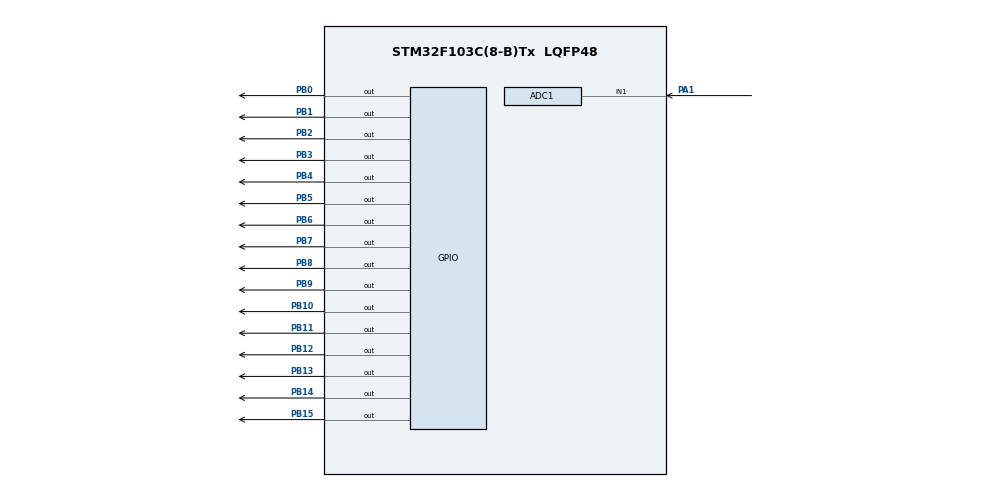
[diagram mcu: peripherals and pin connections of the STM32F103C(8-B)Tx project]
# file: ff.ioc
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ADC1.Channel-0\#ChannelRegularConversion=ADC_CHANNEL_1
ADC1.NbrOfConversionFlag=1
ADC1.Rank-0\#ChannelRegularConversion=1
ADC1.SamplingTime-0\#ChannelRegularConversion=ADC_SAMPLETIME_1CYCLE_5
ADC1.master=1
Dma.ADC1.0.Direction=DMA_PERIPH_TO_MEMORY
Dma.ADC1.0.Instance=DMA1_Channel1
Dma.ADC1.0.MemDataAlignment=DMA_MDATAALIGN_HALFWORD
Dma.ADC1.0.MemInc=DMA_MINC_ENABLE
Dma.ADC1.0.Mode=DMA_NORMAL
Dma.ADC1.0.PeriphDataAlignment=DMA_PDATAALIGN_HALFWORD
Dma.ADC1.0.PeriphInc=DMA_PINC_DISABLE
Dma.ADC1.0.Priority=DMA_PRIORITY_LOW
Dma.Request0=ADC1
Mcu.Family=STM32F1
Mcu.Name=STM32F103C(8-B)Tx
Mcu.Package=LQFP48
NVIC.ADC1_2_IRQn=true\:10\:0\:true\:false\:true\:true\:true
NVIC.DMA1_Channel1_IRQn=true\:0\:0\:false\:false\:true\:false\:true
NVIC.PriorityGroup=NVIC_PRIORITYGROUP_4
NVIC.TIM2_IRQn=true\:12\:0\:true\:false\:true\:true\:true
NVIC.TIM3_IRQn=true\:11\:0\:true\:false\:true\:true\:true
PA1.Signal=ADCx_IN1
PB0.Signal=GPIO_Output
PB1.Signal=GPIO_Output
PB10.Signal=GPIO_Output
PB11.Signal=GPIO_Output
PB12.Signal=GPIO_Output
PB13.Signal=GPIO_Output
PB14.Signal=GPIO_Output
PB15.Signal=GPIO_Output
PB2.Signal=GPIO_Output
PB3.Signal=GPIO_Output
PB4.Signal=GPIO_Output
PB5.Signal=GPIO_Output
PB6.Signal=GPIO_Output
PB7.Signal=GPIO_Output
PB8.Signal=GPIO_Output
PB9.Signal=GPIO_Output
ProjectManager.HeapSize=0x200
ProjectManager.StackSize=0x400
ProjectManager.TargetToolchain=STM32CubeIDE
RCC.ADCPresc=RCC_ADCPCLK2_DIV8
RCC.APB1Freq_Value=8000000
RCC.APB2Freq_Value=8000000
SH.ADCx_IN1.0=ADC1_IN1,IN1
TIM2.Period=100
TIM2.Prescaler=800
TIM2.TIM_MasterOutputTrigger=TIM_TRGO_UPDATE
TIM3.Period=100
TIM3.Prescaler=80
TIM3.TIM_MasterOutputTrigger=TIM_TRGO_UPDATE
VP_SYS_VS_ND.Mode=No_Debug
VP_TIM2_VS_ClockSourceINT.Mode=Internal
VP_TIM3_VS_ClockSourceINT.Mode=Internal
board=custom

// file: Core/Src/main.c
/* USER CODE BEGIN Header */
/**
  ******************************************************************************
  * @file           : main.c
  * @brief          : Main program body
  ******************************************************************************
  * @attention
  *
  * <h2><center>&copy; Copyright (c) 2024 STMicroelectronics.
  * All rights reserved.</center></h2>
  *
  * This software component is licensed by ST under BSD 3-Clause license,
  * the "License"; You may not use this file except in compliance with the
  * License. You may obtain a copy of the License at:
  *                        opensource.org/licenses/BSD-3-Clause
  *
  ******************************************************************************
  */
/* USER CODE END Header */
#include "main.h"
#include <stdbool.h>

ADC_HandleTypeDef hadc1;
DMA_HandleTypeDef hdma_adc1;
TIM_HandleTypeDef htim2;
TIM_HandleTypeDef htim3;

/* USER CODE BEGIN PV */
uint16_t sA = GPIO_PIN_0;
uint16_t sB = GPIO_PIN_1;
uint16_t sC = GPIO_PIN_2;
uint16_t sD = GPIO_PIN_3;
uint16_t sE = GPIO_PIN_4;
uint16_t sF = GPIO_PIN_5;
uint16_t sG = GPIO_PIN_6;
uint16_t sDP = GPIO_PIN_7;
uint16_t digs[10];
uint16_t flag = 0;

uint16_t pointposition1[4] = {
    0b1110,
    0b1101,
    0b1011,
    0b0111,
};

uint16_t adcValues[256];
uint16_t adcIndex = 0;
uint8_t adcFull = 0;
uint8_t i = 0;
uint8_t tmp = 0;
uint16_t y = 0;
uint8_t value[4] = {0, 0, 0, 0};
uint32_t adcData[0];
uint16_t rmsValue = 0; // Переменная для хранения среднеквадратичного значения

/* USER CODE END PV */

void SystemClock_Config(void);
static void MX_GPIO_Init(void);
static void MX_TIM2_Init(void);
static void MX_TIM3_Init(void);
static void MX_DMA_Init(void);
static void MX_ADC1_Init(void);

/* USER CODE BEGIN 0 */

void SetSymbol(uint16_t digs)
{
    GPIOB->BSRR = ~digs;
    GPIOB->BSRR = (uint32_t)digs << 16u;
}

void FloatIntTranslation(uint16_t adcValue)
{
    // Преобразование значения АЦП в вольты
	float voltage = (adcValue * 1.65f / 4095.0f);

    uint8_t a = (uint8_t)voltage;
    uint8_t b = (uint8_t)(voltage * 10) - (a * 10);
    uint8_t c = (uint8_t)(voltage * 100) - ((uint8_t)(voltage * 10)) * 10;
    uint8_t d = (uint8_t)(voltage * 1000) - ((uint8_t)(voltage * 100)) * 10;

    value[0] = a;
    value[1] = b;
    value[2] = c;
    value[3] = d;
}

void Symbol()
{
    if (i == 4) {
        i = 0;
    }

    if (tmp == 4) {
        tmp = 0;
    }

    if (i == 0) {
        y = digs[value[tmp]] | sDP;
    } else {
        y = digs[value[tmp]];
    }

    y = y | (pointposition1[i] << 8);

    SetSymbol(y);

    i++;
    tmp++;
}

int16_t sqrt1(uint32_t L)
{
    if(L < 2)
        return (uint16_t) L;

    uint32_t rslt, div;

    rslt = L;
    div = L / 2;
    while(1)
    {
        div = (L / div + div) / 2;

        if(rslt > div)
            rslt = div;
        else
            return (uint16_t) rslt;
    }
}

float CalculateRMS(uint16_t *values, uint16_t size)
{
    uint32_t sum = 0;
    for (uint16_t i = 0; i < size; i++) {
        sum += values[i] * values[i];
    }
    float mean = (float)sum / size;
    return sqrt1(mean);
}

void HAL_TIM_PeriodElapsedCallback(TIM_HandleTypeDef *htim)
{
	if (htim == &htim2) {
	        Symbol();
	    }

	if (htim == &htim3) {
        HAL_ADC_Start_DMA(&hadc1, (uint32_t*)&adcValues[0], 256);
    }
}

void HAL_ADC_ConvCpltCallback(ADC_HandleTypeDef* hadc)
{
    if (hadc->Instance == ADC1) {
        adcFull = 1;
    }
}

//функция подсчёта периодов
uint16_t countPeriods(uint16_t adcValues[], uint16_t length) {

    uint16_t perCount = 0;
    bool wasPos = (adcValues[0] >= 1.65 * 4095 / 3.3); // Начальное состояние
    bool flag = false;                                 // Флаг для отслеживания пересечения через 1.65 В

    for (uint16_t i = 1; i < length; i++) {
        bool isPos = (adcValues[i] >= 1.65 * 4095 / 3.3);

        // Проверяем пересечение через 1.65 В
        if (wasPos != isPos) {
            flag = true;
        } else if (flag && isPos) {
            // Пересечение через 1.65 В произошло и текущее значение положительное
            perCount++;
            flag = false;
        }

        wasPos = isPos;
    }

    return perCount;
}

// Функция для изменения предделителя таймера htim3
void ChangeTIM3Prescaler(uint32_t newPrescaler)
{

    // Останавливаем таймер перед изменением предделителя
    __HAL_TIM_DISABLE(&htim3);

    // Изменяем значение предделителя
    __HAL_TIM_SET_PRESCALER(&htim3, newPrescaler - 1);

    // Запускаем таймер снова
    __HAL_TIM_ENABLE(&htim3);

}
/* USER CODE END 0 */

int main(void)
{

  /* MCU Configuration--------------------------------------------------------*/

  /* Reset of all peripherals, Initializes the Flash interface and the Systick. */
  HAL_Init();

  /* Configure the system clock */
  SystemClock_Config();

  /* Initialize all configured peripherals */
  MX_GPIO_Init();
  MX_TIM2_Init();
  MX_TIM3_Init();
  MX_DMA_Init();
  MX_ADC1_Init();

  /* Infinite loop */
  /* USER CODE BEGIN WHILE */

  digs[0] = sA | sB | sC | sD | sE | sF;
  digs[1] = sB | sC;
  digs[2] = sA | sB | sD | sE | sG;
  digs[3] = sA | sB | sC | sD | sG;
  digs[4] = sB | sC | sF | sG;
  digs[5] = sA | sC | sD | sF | sG;
  digs[6] = sA | sC | sD | sE | sF | sG;
  digs[7] = sA | sB | sC;
  digs[8] = sA | sB | sC | sD | sE | sF | sG;
  digs[9] = sA | sB | sC | sD | sF | sG;

  HAL_TIM_Base_Start_IT(&htim2);
  HAL_TIM_Base_Start_IT(&htim3);
  while (1) {
    /* USER CODE END WHILE */

    /* USER CODE BEGIN 3 */

    if (adcFull) {
        adcFull = 0;
        float rms = CalculateRMS(adcValues, 256);
        rmsValue = (uint16_t)(rms);
        FloatIntTranslation(rmsValue);

        // Проверка количества периодов
        uint16_t perCount = countPeriods(adcValues, 256);

        if (perCount < 20)
         {
           // Увеличить частоту дискретизации
           ChangeTIM3Prescaler(300); // Уменьшение предделителя
         }
         else if (perCount > 50)
         {
           // Уменьшить частоту дискретизации
           ChangeTIM3Prescaler(1600); // Увеличение предделителя
         }
    }

  }

  /* USER CODE END 3 */
}

void SystemClock_Config(void)
{
  RCC_OscInitTypeDef RCC_OscInitStruct = {0};
  RCC_ClkInitTypeDef RCC_ClkInitStruct = {0};
  RCC_PeriphCLKInitTypeDef PeriphClkInit = {0};

  /** Initializes the RCC Oscillators according to the specified parameters
  * in the RCC_OscInitTypeDef structure.
  */
  RCC_OscInitStruct.OscillatorType = RCC_OSCILLATORTYPE_HSI;
  RCC_OscInitStruct.HSIState = RCC_HSI_ON;
  RCC_OscInitStruct.HSICalibrationValue = RCC_HSICALIBRATION_DEFAULT;
  RCC_OscInitStruct.PLL.PLLState = RCC_PLL_NONE;
  if (HAL_RCC_OscConfig(&RCC_OscInitStruct) != HAL_OK)
  {
    Error_Handler();
  }
  /** Initializes the CPU, AHB and APB buses clocks
  */
  RCC_ClkInitStruct.ClockType = RCC_CLOCKTYPE_HCLK|RCC_CLOCKTYPE_SYSCLK
                              |RCC_CLOCKTYPE_PCLK1|RCC_CLOCKTYPE_PCLK2;
  RCC_ClkInitStruct.SYSCLKSource = RCC_SYSCLKSOURCE_HSI;
  RCC_ClkInitStruct.AHBCLKDivider = RCC_SYSCLK_DIV1;
  RCC_ClkInitStruct.APB1CLKDivider = RCC_HCLK_DIV1;
  RCC_ClkInitStruct.APB2CLKDivider = RCC_HCLK_DIV1;

  if (HAL_RCC_ClockConfig(&RCC_ClkInitStruct, FLASH_LATENCY_0) != HAL_OK)
  {
    Error_Handler();
  }
  PeriphClkInit.PeriphClockSelection = RCC_PERIPHCLK_ADC;
  PeriphClkInit.AdcClockSelection = RCC_ADCPCLK2_DIV8;
  if (HAL_RCCEx_PeriphCLKConfig(&PeriphClkInit) != HAL_OK)
  {
    Error_Handler();
  }
}

static void MX_ADC1_Init(void)
{

  ADC_ChannelConfTypeDef sConfig = {0};

  /** Common config
  */
  hadc1.Instance = ADC1;
  hadc1.Init.ScanConvMode = ADC_SCAN_DISABLE;
  hadc1.Init.ContinuousConvMode = DISABLE;
  hadc1.Init.DiscontinuousConvMode = DISABLE;
  hadc1.Init.ExternalTrigConv = ADC_SOFTWARE_START;
  hadc1.Init.DataAlign = ADC_DATAALIGN_RIGHT;
  hadc1.Init.NbrOfConversion = 1;
  if (HAL_ADC_Init(&hadc1) != HAL_OK)
  {
    Error_Handler();
  }
  /** Configure Regular Channel
  */
  sConfig.Channel = ADC_CHANNEL_1;
  sConfig.Rank = ADC_REGULAR_RANK_1;
  sConfig.SamplingTime = ADC_SAMPLETIME_1CYCLE_5;
  if (HAL_ADC_ConfigChannel(&hadc1, &sConfig) != HAL_OK)
  {
    Error_Handler();
  }

}

static void MX_TIM2_Init(void)
{

  TIM_ClockConfigTypeDef sClockSourceConfig = {0};
  TIM_MasterConfigTypeDef sMasterConfig = {0};

  htim2.Instance = TIM2;
  htim2.Init.Prescaler = 800;
  htim2.Init.CounterMode = TIM_COUNTERMODE_UP;
  htim2.Init.Period = 100;
  htim2.Init.ClockDivision = TIM_CLOCKDIVISION_DIV1;
  htim2.Init.AutoReloadPreload = TIM_AUTORELOAD_PRELOAD_DISABLE;
  if (HAL_TIM_Base_Init(&htim2) != HAL_OK)
  {
    Error_Handler();
  }
  sClockSourceConfig.ClockSource = TIM_CLOCKSOURCE_INTERNAL;
  if (HAL_TIM_ConfigClockSource(&htim2, &sClockSourceConfig) != HAL_OK)
  {
    Error_Handler();
  }
  sMasterConfig.MasterOutputTrigger = TIM_TRGO_UPDATE;
  sMasterConfig.MasterSlaveMode = TIM_MASTERSLAVEMODE_DISABLE;
  if (HAL_TIMEx_MasterConfigSynchronization(&htim2, &sMasterConfig) != HAL_OK)
  {
    Error_Handler();
  }

}

static void MX_TIM3_Init(void)
{

  TIM_ClockConfigTypeDef sClockSourceConfig = {0};
  TIM_MasterConfigTypeDef sMasterConfig = {0};

  htim3.Instance = TIM3;
  htim3.Init.Prescaler = 80; // Умееьшить значение предделителя для увеличения частоты дискретизации
  htim3.Init.CounterMode = TIM_COUNTERMODE_UP;
  htim3.Init.Period = 100;
  htim3.Init.ClockDivision = TIM_CLOCKDIVISION_DIV1;
  htim3.Init.AutoReloadPreload = TIM_AUTORELOAD_PRELOAD_DISABLE;
  if (HAL_TIM_Base_Init(&htim3) != HAL_OK)
  {
    Error_Handler();
  }
  sClockSourceConfig.ClockSource = TIM_CLOCKSOURCE_INTERNAL;
  if (HAL_TIM_ConfigClockSource(&htim3, &sClockSourceConfig) != HAL_OK)
  {
    Error_Handler();
  }
  sMasterConfig.MasterOutputTrigger = TIM_TRGO_UPDATE;
  sMasterConfig.MasterSlaveMode = TIM_MASTERSLAVEMODE_DISABLE;
  if (HAL_TIMEx_MasterConfigSynchronization(&htim3, &sMasterConfig) != HAL_OK)
  {
    Error_Handler();
  }

}

static void MX_DMA_Init(void)
{

  /* DMA controller clock enable */
  __HAL_RCC_DMA1_CLK_ENABLE();

  /* DMA interrupt init */
  /* DMA1_Channel1_IRQn interrupt configuration */
  HAL_NVIC_SetPriority(DMA1_Channel1_IRQn, 0, 0);
  HAL_NVIC_EnableIRQ(DMA1_Channel1_IRQn);

}

static void MX_GPIO_Init(void)
{
  GPIO_InitTypeDef GPIO_InitStruct = {0};

  /* GPIO Ports Clock Enable */
  __HAL_RCC_GPIOA_CLK_ENABLE();
  __HAL_RCC_GPIOB_CLK_ENABLE();

  /*Configure GPIO pin Output Level */
  HAL_GPIO_WritePin(GPIOB, GPIO_PIN_0|GPIO_PIN_1|GPIO_PIN_2|GPIO_PIN_10
                          |GPIO_PIN_11|GPIO_PIN_12|GPIO_PIN_13|GPIO_PIN_14
                          |GPIO_PIN_15|GPIO_PIN_3|GPIO_PIN_4|GPIO_PIN_5
                          |GPIO_PIN_6|GPIO_PIN_7|GPIO_PIN_8|GPIO_PIN_9, GPIO_PIN_RESET);

  /*Configure GPIO pins : PB0 PB1 PB2 PB10
                           PB11 PB12 PB13 PB14
                           PB15 PB3 PB4 PB5
                           PB6 PB7 PB8 PB9 */
  GPIO_InitStruct.Pin = GPIO_PIN_0|GPIO_PIN_1|GPIO_PIN_2|GPIO_PIN_10
                          |GPIO_PIN_11|GPIO_PIN_12|GPIO_PIN_13|GPIO_PIN_14
                          |GPIO_PIN_15|GPIO_PIN_3|GPIO_PIN_4|GPIO_PIN_5
                          |GPIO_PIN_6|GPIO_PIN_7|GPIO_PIN_8|GPIO_PIN_9;
  GPIO_InitStruct.Mode = GPIO_MODE_OUTPUT_PP;
  GPIO_InitStruct.Pull = GPIO_NOPULL;
  GPIO_InitStruct.Speed = GPIO_SPEED_FREQ_LOW;
  HAL_GPIO_Init(GPIOB, &GPIO_InitStruct);

}

void Error_Handler(void)
{
  __disable_irq();
  while (1)
  {
  }
}

/************************ (C) COPYRIGHT STMicroelectronics *****END OF FILE****/
